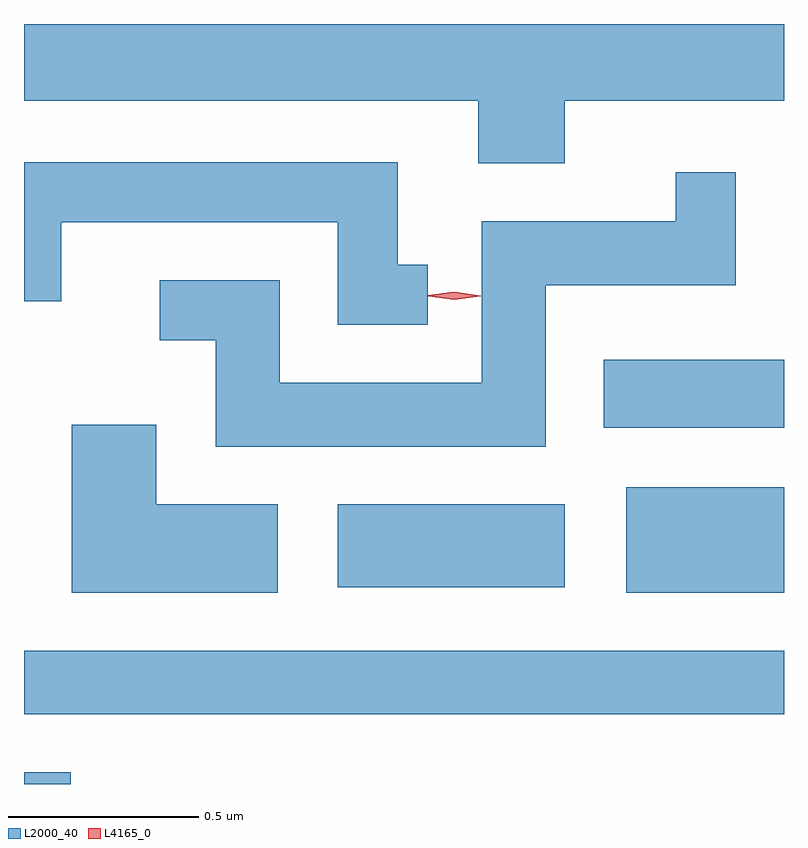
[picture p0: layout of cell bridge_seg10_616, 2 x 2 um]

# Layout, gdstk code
import gdstk
lib = gdstk.Library(unit=1e-6, precision=1e-09)
def R(c, l, rs):  # rectangles x0, y0, x1, y1
    for r in rs: c.add(gdstk.rectangle(r[:2], r[2:], *l))
def P(c, l, *ps):  # polygons
    for p in ps: c.add(gdstk.Polygon(p, *l))
L2000_40 = (2000, 40)
L4165_0 = (4165, 0)

bridge_seg10_616 = lib.new_cell('bridge_seg10_616')
R(bridge_seg10_616, L2000_40, [(647.016,2160.958,647.139,2160.989), (647.016,2161.141,649.016,2161.309), (648.601,2161.461,649.016,2161.739), (647.841,2161.476,648.439,2161.694), (648.541,2161.896,649.016,2162.074)])
P(bridge_seg10_616, L2000_40, [(648.439,2162.756),(649.016,2162.756),(649.016,2162.958),(647.016,2162.958),(647.016,2162.756),(648.211,2162.756),(648.211,2162.591),(648.439,2162.591)],
  [(648.078,2162.324),(647.999,2162.324),(647.999,2162.594),(647.016,2162.594),(647.016,2162.228),(647.114,2162.228),(647.114,2162.436),(647.841,2162.436),(647.841,2162.166),(648.078,2162.166)],
  [(648.389,2162.271),(648.889,2162.271),(648.889,2162.568),(648.731,2162.568),(648.731,2162.439),(648.221,2162.439),(648.221,2162.014),(647.689,2162.014),(647.689,2162.284),(647.373,2162.284),(647.373,2162.126),(647.521,2162.126),(647.521,2161.846),(648.389,2161.846)],
  [(647.684,2161.694),(647.364,2161.694),(647.364,2161.904),(647.141,2161.904),(647.141,2161.461),(647.684,2161.461)])
P(bridge_seg10_616, L4165_0, [(648.148,2162.233),(648.079,2162.242),(648.079,2162.243),(648.079,2162.244),(648.148,2162.253),(648.218,2162.243),(648.218,2162.242),(648.218,2162.242)])

lib.write_gds('bridge_seg10_616.gds')
